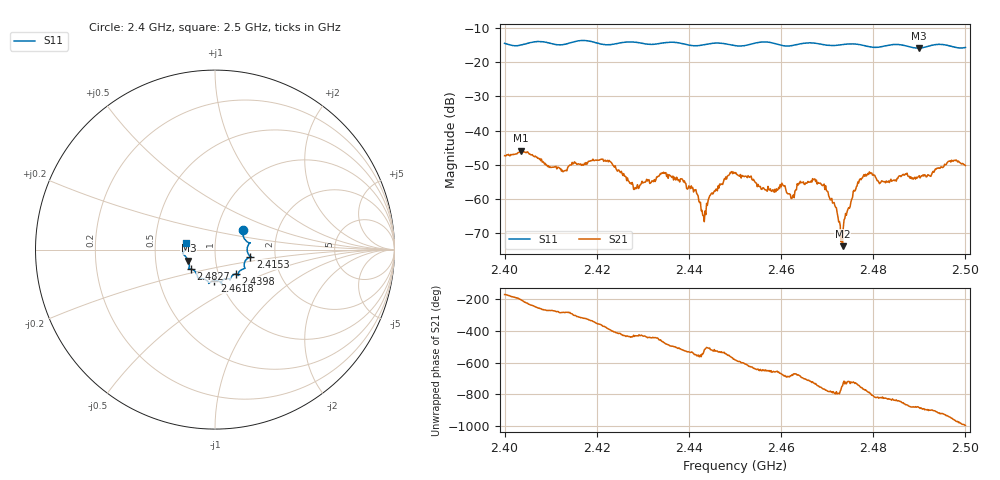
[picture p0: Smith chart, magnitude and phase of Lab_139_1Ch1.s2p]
# Hz S RI R 50
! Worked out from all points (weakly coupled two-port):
!   601 points, 2.4 GHz to 2.5 GHz, reference 50 ohm
!   highest |S21| = -45.91 dB at 2.4035 GHz (marker M1); lowest = -73.8 dB at 2.4733 GHz (marker M2)
!   lowest |S11| = -15.9 dB at 2.4898 GHz (marker M3), VSWR 1.38, Z = 36.8 - j4.62 ohm
!   |S11| at or under -10 dB: start of sweep to end of sweep
!   S12 and S22 are empty: the file has one direction only
!   S11 on the Smith chart (normalised r, x): 2.4 GHz: 1.33, +0.29; 2.4153 GHz: 1.48, -0.12; 2.4398 GHz: 1.21, -0.34; 2.4618 GHz: 0.94, -0.33; 2.4827 GHz: 0.75, -0.17; 2.5 GHz: 0.72, +0.06
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2.4e9  0.1553 0.1069  -0.0042 -0.00083  0 0  0 0
2.4035e9  0.1692 0.053  -0.00474 0.00179  0 0  0 0
2.412833e9  0.1806 -0.0127  0.000474 0.00249  0 0  0 0
2.415333e9  0.1969 -0.0395  0.00172 0.00287  0 0  0 0
2.416667e9  0.2027 -0.0436  0.00217 0.0022  0 0  0 0
2.422667e9  0.1641 -0.0728  0.00325 -0.00168  0 0  0 0
2.4285e9  0.1644 -0.1051  0.000492 -0.00132  0 0  0 0
2.433333e9  0.1296 -0.1337  0.000105 -0.00214  0 0  0 0
2.439833e9  0.1153 -0.136  -0.0014 -0.000259  0 0  0 0
2.4415e9  0.0995 -0.1423  -0.00135 0.000192  0 0  0 0
2.443167e9  0.0877 -0.1563  -0.000568 -3.91e-05  0 0  0 0
2.444833e9  0.0838 -0.168  -0.0011 -0.000442  0 0  0 0
2.45e9  0.065 -0.162  -0.00179 0.00159  0 0  0 0
2.461833e9  -0.00335 -0.1727  0.00101 0.000616  0 0  0 0
2.466667e9  -0.0347 -0.1881  0.00175 -0.000131  0 0  0 0
2.469667e9  -0.0451 -0.1725  0.000937 -0.00125  0 0  0 0
2.473333e9  -0.0838 -0.1599  0.000183 -8.87e-05  0 0  0 0
2.4775e9  -0.0977 -0.1487  0.00161 -0.00119  0 0  0 0
2.482667e9  -0.1348 -0.1086  -0.000377 -0.00168  0 0  0 0
2.483333e9  -0.14 -0.1083  -0.000524 -0.00175  0 0  0 0
2.489833e9  -0.1483 -0.0611  -0.00201 -0.000719  0 0  0 0
2.5e9  -0.1594 0.0389  0.000305 0.00306  0 0  0 0
